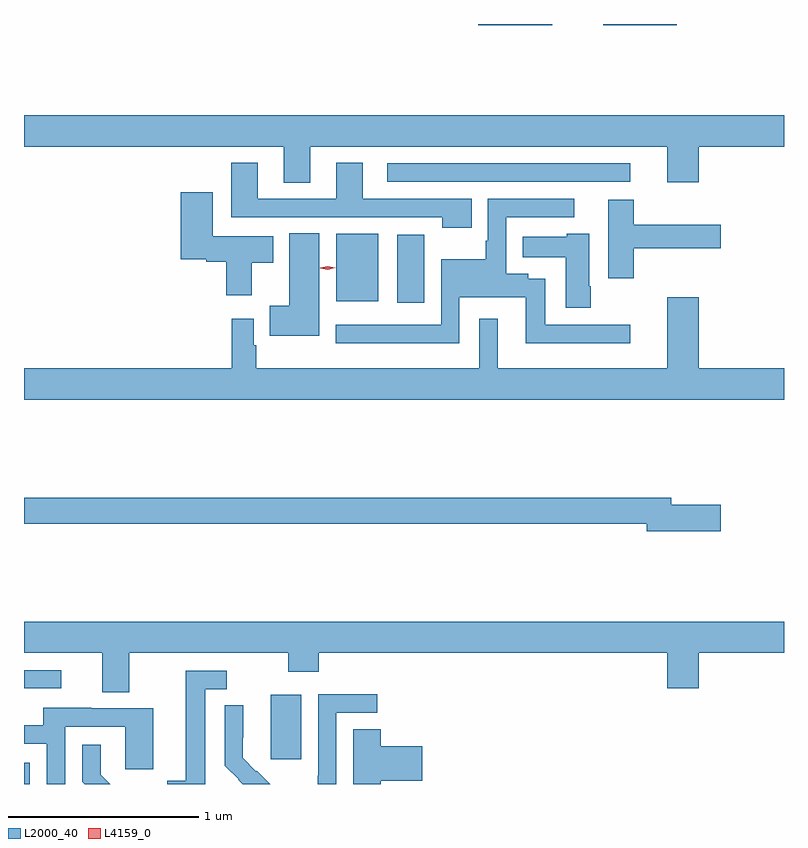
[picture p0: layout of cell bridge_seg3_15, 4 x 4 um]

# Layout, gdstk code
import gdstk
lib = gdstk.Library(unit=1e-6, precision=1e-09)
def R(c, l, rs):  # rectangles x0, y0, x1, y1
    for r in rs: c.add(gdstk.rectangle(r[:2], r[2:], *l))
def P(c, l, *ps):  # polygons
    for p in ps: c.add(gdstk.Polygon(p, *l))
L2000_40 = (2000, 40)
L4159_0 = (4159, 0)

bridge_seg3_15 = lib.new_cell('bridge_seg3_15')
R(bridge_seg3_15, L2000_40, [(665.118,738.853,665.148,738.966), (666.416,738.984,666.577,739.324), (665.118,739.356,665.314,739.452), (667.082,741.387,667.225,741.745), (666.761,741.395,666.982,741.748), (667.029,742.023,668.308,742.119), (667.508,742.846,667.897,742.853), (668.166,742.846,668.554,742.853)])
P(bridge_seg3_15, L2000_40, [(666.625,742.208),(668.504,742.208),(668.504,742.02),(668.668,742.02),(668.668,742.208),(669.118,742.208),(669.118,742.372),(665.118,742.372),(665.118,742.208),(666.485,742.208),(666.485,742.018),(666.625,742.018)],
  [(667.475,741.933),(666.901,741.933),(666.901,742.123),(666.761,742.123),(666.761,741.933),(666.349,741.933),(666.349,742.123),(666.209,742.123),(666.209,741.837),(667.319,741.837),(667.319,741.78),(667.475,741.78)],
  [(666.316,741.596),(666.43,741.596),(666.43,741.736),(666.112,741.736),(666.112,741.967),(665.942,741.967),(665.942,741.614),(666.078,741.614),(666.078,741.602),(666.182,741.602),(666.182,741.426),(666.316,741.426)],
  [(667.41,741.416),(667.76,741.416),(667.76,741.173),(668.308,741.173),(668.308,741.27),(667.861,741.27),(667.861,741.513),(667.773,741.513),(667.773,741.538),(667.656,741.538),(667.656,741.837),(668.014,741.837),(668.014,741.933),(667.56,741.933),(667.56,741.712),(667.548,741.712),(667.548,741.616),(667.314,741.616),(667.314,741.27),(666.758,741.27),(666.758,741.173),(667.41,741.173)],
  [(668.327,741.674),(668.785,741.674),(668.785,741.796),(668.327,741.796),(668.327,741.928),(668.192,741.928),(668.192,741.516),(668.327,741.516)],
  [(666.673,741.752),(666.515,741.752),(666.515,741.37),(666.412,741.37),(666.412,741.212),(666.673,741.212)],
  [(668.1,741.472),(668.092,741.472),(668.092,741.748),(667.974,741.748),(667.974,741.733),(667.743,741.733),(667.743,741.626),(667.97,741.626),(667.97,741.36),(668.1,741.36)],
  [(669.118,741.04),(668.668,741.04),(668.668,741.415),(668.504,741.415),(668.504,741.04),(667.612,741.04),(667.612,741.301),(667.515,741.301),(667.515,741.04),(666.34,741.04),(666.34,741.162),(666.327,741.162),(666.327,741.301),(666.211,741.301),(666.211,741.04),(665.118,741.04),(665.118,740.876),(669.118,740.876)],
  [(668.785,740.324),(668.524,740.324),(668.524,740.36),(665.118,740.36),(665.118,740.224),(668.396,740.224),(668.396,740.182),(668.785,740.182)],
  [(665.671,739.544),(666.508,739.544),(666.508,739.445),(666.668,739.445),(666.668,739.544),(668.504,739.544),(668.504,739.356),(668.668,739.356),(668.668,739.544),(669.118,739.544),(669.118,739.708),(665.118,739.708),(665.118,739.544),(665.531,739.544),(665.531,739.336),(665.671,739.336)],
  [(666.073,739.353),(666.184,739.353),(666.184,739.449),(665.969,739.449),(665.969,738.869),(665.873,738.869),(665.873,738.853),(666.073,738.853)],
  [(666.762,739.227),(666.976,739.227),(666.976,739.326),(666.666,739.326),(666.666,738.896),(666.664,738.896),(666.664,738.853),(666.762,738.853)],
  [(666.342,738.924),(666.339,738.921),(666.269,738.992),(666.269,739.096),(666.271,739.096),(666.271,739.268),(666.174,739.268),(666.174,738.95),(666.247,738.877),(666.246,738.876),(666.269,738.853),(666.413,738.853)],
  [(665.334,739.155),(665.652,739.155),(665.652,738.931),(665.797,738.931),(665.797,739.251),(665.473,739.251),(665.473,739.255),(665.219,739.255),(665.219,739.161),(665.118,739.161),(665.118,739.065),(665.238,739.065),(665.238,738.853),(665.334,738.853)],
  [(666.995,738.869),(667.213,738.869),(667.213,739.052),(666.995,739.052),(666.995,739.142),(666.851,739.142),(666.851,738.853),(666.995,738.853)],
  [(665.521,738.903),(665.521,739.06),(665.424,739.06),(665.424,738.866),(665.437,738.853),(665.571,738.853)])
P(bridge_seg3_15, L4159_0, [(666.717,741.559),(666.677,741.568),(666.677,741.569),(666.677,741.569),(666.716,741.579),(666.756,741.569),(666.756,741.569),(666.756,741.569)])

lib.write_gds('bridge_seg3_15.gds')
